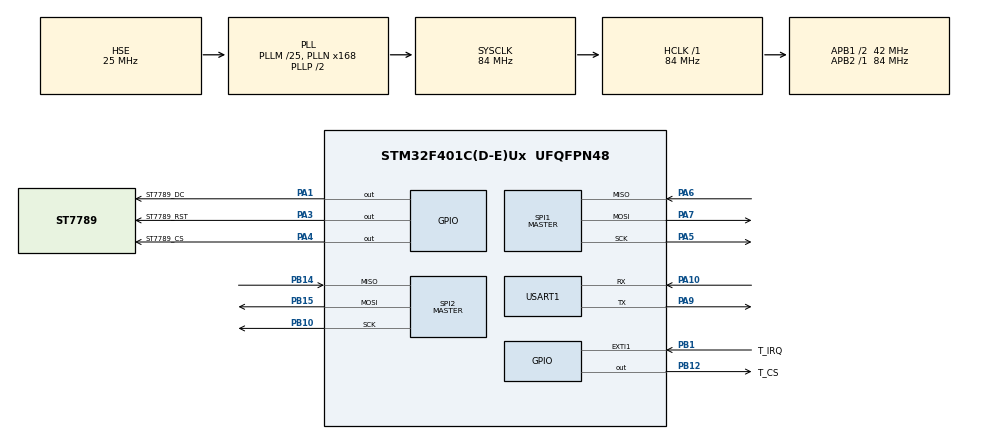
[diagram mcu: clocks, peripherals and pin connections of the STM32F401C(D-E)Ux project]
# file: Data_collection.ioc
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Dma.Request0=SPI1_TX
Dma.SPI1_TX.0.Direction=DMA_MEMORY_TO_PERIPH
Dma.SPI1_TX.0.FIFOMode=DMA_FIFOMODE_DISABLE
Dma.SPI1_TX.0.Instance=DMA2_Stream3
Dma.SPI1_TX.0.MemDataAlignment=DMA_MDATAALIGN_BYTE
Dma.SPI1_TX.0.MemInc=DMA_MINC_ENABLE
Dma.SPI1_TX.0.Mode=DMA_NORMAL
Dma.SPI1_TX.0.PeriphDataAlignment=DMA_PDATAALIGN_BYTE
Dma.SPI1_TX.0.PeriphInc=DMA_PINC_DISABLE
Dma.SPI1_TX.0.Priority=DMA_PRIORITY_LOW
Mcu.Family=STM32F4
Mcu.Name=STM32F401C(D-E)Ux
Mcu.Package=UFQFPN48
NVIC.DMA2_Stream3_IRQn=true\:0\:0\:false\:false\:true\:false\:true\:true
NVIC.PriorityGroup=NVIC_PRIORITYGROUP_4
PA1.GPIO_Label=ST7789_DC
PA1.GPIO_ModeDefaultOutputPP=GPIO_MODE_OUTPUT_OD
PA1.GPIO_PuPd=GPIO_NOPULL
PA1.GPIO_Speed=GPIO_SPEED_FREQ_HIGH
PA1.Signal=GPIO_Output
PA10.Mode=Asynchronous
PA10.Signal=USART1_RX
PA13.Mode=Serial_Wire
PA13.Signal=SYS_JTMS-SWDIO
PA14.Mode=Serial_Wire
PA14.Signal=SYS_JTCK-SWCLK
PA3.GPIO_Label=ST7789_RST
PA3.GPIO_ModeDefaultOutputPP=GPIO_MODE_OUTPUT_OD
PA3.GPIO_PuPd=GPIO_NOPULL
PA3.GPIO_Speed=GPIO_SPEED_FREQ_HIGH
PA3.Signal=GPIO_Output
PA4.GPIO_Label=ST7789_CS
PA4.GPIO_ModeDefaultOutputPP=GPIO_MODE_OUTPUT_OD
PA4.GPIO_PuPd=GPIO_NOPULL
PA4.GPIO_Speed=GPIO_SPEED_FREQ_HIGH
PA4.Signal=GPIO_Output
PA5.Mode=Full_Duplex_Master
PA5.Signal=SPI1_SCK
PA6.Mode=Full_Duplex_Master
PA6.Signal=SPI1_MISO
PA7.Mode=Full_Duplex_Master
PA7.Signal=SPI1_MOSI
PA9.Mode=Asynchronous
PA9.Signal=USART1_TX
PB1.GPIO_Label=T_IRQ
PB1.Signal=GPXTI1
PB10.Mode=Full_Duplex_Master
PB10.Signal=SPI2_SCK
PB12.GPIO_Label=T_CS
PB12.GPIO_ModeDefaultOutputPP=GPIO_MODE_OUTPUT_OD
PB12.GPIO_PuPd=GPIO_NOPULL
PB12.GPIO_Speed=GPIO_SPEED_FREQ_VERY_HIGH
PB12.Signal=GPIO_Output
PB14.Mode=Full_Duplex_Master
PB14.Signal=SPI2_MISO
PB15.Mode=Full_Duplex_Master
PB15.Signal=SPI2_MOSI
PH0\ -\ OSC_IN.Mode=HSE-External-Oscillator
PH0\ -\ OSC_IN.Signal=RCC_OSC_IN
PH1\ -\ OSC_OUT.Mode=HSE-External-Oscillator
PH1\ -\ OSC_OUT.Signal=RCC_OSC_OUT
ProjectManager.HeapSize=0x200
ProjectManager.StackSize=0x400
ProjectManager.TargetToolchain=STM32CubeIDE
RCC.48MHZClocksFreq_Value=42000000
RCC.AHBFreq_Value=84000000
RCC.APB1CLKDivider=RCC_HCLK_DIV2
RCC.APB1Freq_Value=42000000
RCC.APB1TimFreq_Value=84000000
RCC.APB2Freq_Value=84000000
RCC.APB2TimFreq_Value=84000000
RCC.CortexFreq_Value=84000000
RCC.HCLKFreq_Value=84000000
RCC.HSE_VALUE=25000000
RCC.HSI_VALUE=16000000
RCC.LSE_VALUE=32768
RCC.PLLM=25
RCC.PLLN=168
RCC.PLLSourceVirtual=RCC_PLLSOURCE_HSE
RCC.SYSCLKFreq_VALUE=84000000
RCC.SYSCLKSource=RCC_SYSCLKSOURCE_PLLCLK
RCC.VCOOutputFreq_Value=168000000
SPI1.BaudRatePrescaler=SPI_BAUDRATEPRESCALER_4
SPI1.CLKPhase=SPI_PHASE_1EDGE
SPI1.CLKPolarity=SPI_POLARITY_HIGH
SPI1.Direction=SPI_DIRECTION_2LINES
SPI1.Mode=SPI_MODE_MASTER
SPI1.VirtualType=VM_MASTER
SPI2.BaudRatePrescaler=SPI_BAUDRATEPRESCALER_8
SPI2.DataSize=SPI_DATASIZE_16BIT
SPI2.Direction=SPI_DIRECTION_2LINES
SPI2.Mode=SPI_MODE_MASTER
SPI2.VirtualType=VM_MASTER
USART1.VirtualMode=VM_ASYNC
board=custom

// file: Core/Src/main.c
/* USER CODE BEGIN Header */
/**
  ******************************************************************************
  * @file           : main.c
  * @brief          : Main program body of TFT_touch_xpt2046 to calib screen
  ******************************************************************************
  * @attention
  *
  * Copyright (c) 2024 STMicroelectronics.
  * All rights reserved.
  *
  * This software is licensed under terms that can be found in the LICENSE file
  * in the root directory of this software component.
  * If no LICENSE file comes with this software, it is provided AS-IS.
  *
  ******************************************************************************
  */
/* USER CODE END Header */
#include "main.h"

/* USER CODE BEGIN Includes */
#include <stdio.h>
#include <string.h>
#include "st7789.h"
#include "xpt2046.h"
#include "constants.h"
/* USER CODE END Includes */

SPI_HandleTypeDef hspi1;
SPI_HandleTypeDef hspi2;
DMA_HandleTypeDef hdma_spi1_tx;

UART_HandleTypeDef huart1;

/* USER CODE BEGIN PV */
volatile float cnn_input[INPUT_SIZE * INPUT_SIZE];	// to store CNN input
uint16_t data_count = 0;
/* USER CODE END PV */

void SystemClock_Config(void);
static void MX_GPIO_Init(void);
static void MX_DMA_Init(void);
static void MX_SPI1_Init(void);
static void MX_SPI2_Init(void);
static void MX_USART1_UART_Init(void);

/* USER CODE BEGIN 0 */
void clearCNNinput(volatile float *in_mat)
{
	uint8_t i = 0;
	uint8_t j = 0;
	for (i = 0; i < INPUT_SIZE; i++)
	{
		for (j = 0; j < INPUT_SIZE; j ++)
		{
			uint16_t in_mat_idx = i * INPUT_SIZE + j;
			in_mat[in_mat_idx] = 0;
		}
	}
}

void resetButtonPressed(volatile float* cnn_input, volatile uint16_t coordinate_x, volatile uint16_t coordinate_y)
{
	if ((coordinate_x > 157 && coordinate_x < 208) &&
		(coordinate_y >  23 && coordinate_y <  43))
	{
		ST7789_DrawFilledRectangle(10, 90, 220, 220, WHITE);
		ST7789_DrawFilledRectangle(10, 10, 28, 28, WHITE);
		HAL_Delay(100);
		ST7789_WriteString(45, 10, "Predicted: _", Font_7x10, RED, WHITE);
		ST7789_WriteString(45, 25, "         ", Font_7x10, RED, WHITE);
		clearCNNinput(cnn_input);
		data_count ++;
	}
}

void drawInterface()
{
	// Turn screen Black
//	ST7789_InvertColors(ST7789_INVOFF);
	ST7789_Fill_Color(WHITE);
	HAL_Delay(500);
//	ST7789_WriteString(10, 20, "Touch Test", Font_11x18, RED, WHITE);
//	HAL_Delay(500);

	// Draw resset button
	ST7789_DrawFilledRectangle(158, 8, 59, 22, BLACK);
	ST7789_WriteString(160, 10, "RESET", Font_11x18, CYAN, BLACK);// 160~226 - 20~38

	// Draw CNN button
	ST7789_DrawFilledRectangle(158, 38, 59, 22, BLACK);
	ST7789_WriteString(160, 40, "SEND ", Font_11x18, CYAN, BLACK);// 160~226 - 20~38

	// Minimap border
	ST7789_DrawRectangle(8, 8, 40, 40, BLACK);
	ST7789_WriteString(8, 45, "CNN input:", Font_7x10, RED, WHITE);
	ST7789_WriteString(45, 10, "Predicted: _", Font_7x10, RED, WHITE);

	// Draw drawing border
	ST7789_DrawRectangle(8, 88, 232, 312, BLACK);
}

void drawMinimap(volatile float *in_mat)
{
	// (x1, y1) = (10, 10)
	uint8_t i = 0;
	uint8_t j = 0;
	uint16_t in_mat_idx = 0;

	// Loop through matrix and draw pixels
	for (i = 0; i < INPUT_SIZE; i++)
	{
		for (j = 0; j < INPUT_SIZE; j++)
		{
			in_mat_idx = i * INPUT_SIZE + j;  // Calculate the index once per loop
			uint16_t color = (in_mat[in_mat_idx] == 0) ? WHITE : RED; // Determine color
			ST7789_DrawPixel(10 + i, 10 + j, color);  // Draw pixel with selected color
		}
	}
}
/* USER CODE END 0 */

int main(void)
{

  /* MCU Configuration--------------------------------------------------------*/

  /* Reset of all peripherals, Initializes the Flash interface and the Systick. */
  HAL_Init();

  /* Configure the system clock */
  SystemClock_Config();

  /* Initialize all configured peripherals */
  MX_GPIO_Init();
  MX_DMA_Init();
  MX_SPI1_Init();
  MX_SPI2_Init();
  MX_USART1_UART_Init();
  /* USER CODE BEGIN 2 */
  ST7789_Init();

  xpt2046_spi(&hspi2);
  xpt2046_init();

  ST7789_Init();
  ST7789_Init();
  /* USER CODE END 2 */

  /* Infinite loop */
  /* USER CODE BEGIN WHILE */
//  ST7789_Test();
  char print_string[30];
  uint8_t change_flag = 0;
  volatile uint16_t coordinate_x = 0;
  volatile uint16_t coordinate_y = 0;

  // Initialize the input mat
  for (uint16_t i = 0; i < INPUT_SIZE; i++)
  {
	  for (uint16_t j = 0; j < INPUT_SIZE; j++)
	  {
		  uint16_t in_mat_idx = i * INPUT_SIZE + j;
		  cnn_input[in_mat_idx] = 0;
	  }
  }

  drawInterface();

  while (1)
  {
	uint16_t pre_coordinate_x = coordinate_x;
	uint16_t pre_coordinate_y = coordinate_y;
	xpt2046_read_position(&coordinate_x, &coordinate_y);
	if (coordinate_x == 0 && coordinate_y == 0)
	{
		// do smt
		if (change_flag != 0)
		{
			ST7789_DrawFilledRectangle(38, 66, 60, 10, WHITE);
			sprintf(print_string,"x = 0");
			ST7789_WriteString(10, 66, print_string, Font_7x10, RED, WHITE);
			HAL_Delay(50);
			ST7789_DrawFilledRectangle(38, 78, 60, 9, WHITE);
			sprintf(print_string,"y = 0");
			ST7789_WriteString(10, 78, print_string, Font_7x10, RED, WHITE);
			HAL_Delay(50);
			change_flag = 0;
		}
	}
	else
	{
		// update screen
		sprintf(print_string,"x = %d", coordinate_x);
		ST7789_WriteString(10, 66, print_string, Font_7x10, RED, WHITE);
//		HAL_Delay(100);
		sprintf(print_string,"y = %d", coordinate_y );
		ST7789_WriteString(10, 78, print_string, Font_7x10, RED, WHITE);
//		HAL_Delay(100);
		change_flag = 1;
	}

//	// Draw function
	uint8_t SOMERANDOMASSSHIZ = 15;
	if (
			// bounding of draw box
			(coordinate_x >  25 && coordinate_x < 221) &&
			(coordinate_y > 108 && coordinate_y < 307) &&
			// prevent jumping in value
			(coordinate_x < pre_coordinate_x + SOMERANDOMASSSHIZ) && (coordinate_x > pre_coordinate_x - SOMERANDOMASSSHIZ) &&
			(coordinate_y < pre_coordinate_y + SOMERANDOMASSSHIZ) && (coordinate_y > pre_coordinate_y - SOMERANDOMASSSHIZ)
		)
	{
		ST7789_DrawFilledRectangle(coordinate_x - 4, coordinate_y - 4, 8, 8, RED);

		// update input mat
		uint8_t cnn_input_idx_x = (coordinate_x - 25)/ 7;
		uint8_t cnn_input_idx_y = (coordinate_y - 108)/ 7;
		// make the input bolder - enlarge the input to 4 pixel
		uint16_t cnn_input_index00 = cnn_input_idx_x * INPUT_SIZE + cnn_input_idx_y;
//		uint16_t cnn_input_index01 = (cnn_input_idx_x - 1) * INPUT_SIZE + cnn_input_idx_y - 1;
//		uint16_t cnn_input_index02 = (cnn_input_idx_x - 1) * INPUT_SIZE + cnn_input_idx_y;
//		uint16_t cnn_input_index03 = (cnn_input_idx_x - 1) * INPUT_SIZE + cnn_input_idx_y + 1;
//		uint16_t cnn_input_index04 = cnn_input_idx_x * INPUT_SIZE + cnn_input_idx_y - 1;
		uint16_t cnn_input_index05 = cnn_input_idx_x * INPUT_SIZE + cnn_input_idx_y + 1;
//		uint16_t cnn_input_index06 = (cnn_input_idx_x + 1) * INPUT_SIZE + cnn_input_idx_y - 1;
		uint16_t cnn_input_index07 = (cnn_input_idx_x + 1) * INPUT_SIZE + cnn_input_idx_y;
		uint16_t cnn_input_index08 = (cnn_input_idx_x + 1) * INPUT_SIZE + cnn_input_idx_y + 1;

		if (cnn_input_index00 < INPUT_SIZE * INPUT_SIZE)
		{
		    cnn_input[cnn_input_index00] = 1.0f;
		}

//		if (cnn_input_index01 < INPUT_SIZE * INPUT_SIZE)
//		{
//			cnn_input[cnn_input_index01] = 1.0f;
//		}
//
//		if (cnn_input_index02 < INPUT_SIZE * INPUT_SIZE)
//		{
//			cnn_input[cnn_input_index02] = 1.0f;
//		}
//
//		if (cnn_input_index03 < INPUT_SIZE * INPUT_SIZE)
//		{
//			cnn_input[cnn_input_index03] = 1.0f;
//		}

//		if (cnn_input_index04 < INPUT_SIZE * INPUT_SIZE)
//		{
//			cnn_input[cnn_input_index04] = 1.0f;
//		}

		if (cnn_input_index05 < INPUT_SIZE * INPUT_SIZE)
		{
			cnn_input[cnn_input_index05] = 1.0f;
		}

//		if (cnn_input_index06 < INPUT_SIZE * INPUT_SIZE)
//		{
//			cnn_input[cnn_input_index06] = 1.0f;
//		}

		if (cnn_input_index07 < INPUT_SIZE * INPUT_SIZE)
		{
			cnn_input[cnn_input_index07] = 1.0f;
		}

		if (cnn_input_index08 < INPUT_SIZE * INPUT_SIZE)
		{
			cnn_input[cnn_input_index08] = 1.0f;
		}
	}

	uint8_t buffer_uart[30];
	uint16_t in_mat_idx;
	// CNN button: SEND DATA TO PC BUTTON
	if ((coordinate_x > 157 && coordinate_x < 208) &&
	    (coordinate_y > 59 && coordinate_y < 71)) {
//	    sprintf((char *)buffer_uart, "A %d\n\r", data_count);
//	    sprintf((char *)buffer_uart, "B %d\n\r", data_count);
	    HAL_UART_Transmit(&huart1, buffer_uart, strlen((char *)buffer_uart), 100);
	    for (uint8_t i = 0; i < INPUT_SIZE; i++)
	    	{
	    		for (uint8_t j = 0; j < INPUT_SIZE; j++)
	    		{
	    			in_mat_idx = j * INPUT_SIZE + i;  // Calculate the index once per loop

	    	        if (cnn_input[in_mat_idx] != 0) {
	    	            sprintf((char *)buffer_uart, "1, ");
	    	        } else {
	    	            sprintf((char *)buffer_uart, "0, ");
	    	        }
	    	        HAL_UART_Transmit(&huart1, buffer_uart, strlen((char *)buffer_uart), 100);
	    	        HAL_Delay(5);
	    		}
	    	}

//	    sprintf((char *)buffer_uart, "\n\rDone\n\r");
	    sprintf((char *)buffer_uart, "\n\r");
	    HAL_UART_Transmit(&huart1, buffer_uart, strlen((char *)buffer_uart), 100);
	    HAL_Delay(1000);
	    ST7789_WriteString(45, 25, "SENT done", Font_7x10, RED, WHITE);
	}

	// draw mini drawin plane
	drawMinimap(cnn_input);

	// Reset button
	resetButtonPressed(cnn_input,  coordinate_x, coordinate_y);
    /* USER CODE END WHILE */

  }
}

void SystemClock_Config(void)
{
  RCC_OscInitTypeDef RCC_OscInitStruct = {0};
  RCC_ClkInitTypeDef RCC_ClkInitStruct = {0};

  /** Configure the main internal regulator output voltage
  */
  __HAL_RCC_PWR_CLK_ENABLE();
  __HAL_PWR_VOLTAGESCALING_CONFIG(PWR_REGULATOR_VOLTAGE_SCALE2);

  /** Initializes the RCC Oscillators according to the specified parameters
  * in the RCC_OscInitTypeDef structure.
  */
  RCC_OscInitStruct.OscillatorType = RCC_OSCILLATORTYPE_HSE;
  RCC_OscInitStruct.HSEState = RCC_HSE_ON;
  RCC_OscInitStruct.PLL.PLLState = RCC_PLL_ON;
  RCC_OscInitStruct.PLL.PLLSource = RCC_PLLSOURCE_HSE;
  RCC_OscInitStruct.PLL.PLLM = 25;
  RCC_OscInitStruct.PLL.PLLN = 168;
  RCC_OscInitStruct.PLL.PLLP = RCC_PLLP_DIV2;
  RCC_OscInitStruct.PLL.PLLQ = 4;
  if (HAL_RCC_OscConfig(&RCC_OscInitStruct) != HAL_OK)
  {
    Error_Handler();
  }

  /** Initializes the CPU, AHB and APB buses clocks
  */
  RCC_ClkInitStruct.ClockType = RCC_CLOCKTYPE_HCLK|RCC_CLOCKTYPE_SYSCLK
                              |RCC_CLOCKTYPE_PCLK1|RCC_CLOCKTYPE_PCLK2;
  RCC_ClkInitStruct.SYSCLKSource = RCC_SYSCLKSOURCE_PLLCLK;
  RCC_ClkInitStruct.AHBCLKDivider = RCC_SYSCLK_DIV1;
  RCC_ClkInitStruct.APB1CLKDivider = RCC_HCLK_DIV2;
  RCC_ClkInitStruct.APB2CLKDivider = RCC_HCLK_DIV1;

  if (HAL_RCC_ClockConfig(&RCC_ClkInitStruct, FLASH_LATENCY_2) != HAL_OK)
  {
    Error_Handler();
  }
}

static void MX_SPI1_Init(void)
{

  /* SPI1 parameter configuration*/
  hspi1.Instance = SPI1;
  hspi1.Init.Mode = SPI_MODE_MASTER;
  hspi1.Init.Direction = SPI_DIRECTION_2LINES;
  hspi1.Init.DataSize = SPI_DATASIZE_8BIT;
  hspi1.Init.CLKPolarity = SPI_POLARITY_HIGH;
  hspi1.Init.CLKPhase = SPI_PHASE_1EDGE;
  hspi1.Init.NSS = SPI_NSS_SOFT;
  hspi1.Init.BaudRatePrescaler = SPI_BAUDRATEPRESCALER_4;
  hspi1.Init.FirstBit = SPI_FIRSTBIT_MSB;
  hspi1.Init.TIMode = SPI_TIMODE_DISABLE;
  hspi1.Init.CRCCalculation = SPI_CRCCALCULATION_DISABLE;
  hspi1.Init.CRCPolynomial = 10;
  if (HAL_SPI_Init(&hspi1) != HAL_OK)
  {
    Error_Handler();
  }

}

static void MX_SPI2_Init(void)
{

  /* SPI2 parameter configuration*/
  hspi2.Instance = SPI2;
  hspi2.Init.Mode = SPI_MODE_MASTER;
  hspi2.Init.Direction = SPI_DIRECTION_2LINES;
  hspi2.Init.DataSize = SPI_DATASIZE_16BIT;
  hspi2.Init.CLKPolarity = SPI_POLARITY_LOW;
  hspi2.Init.CLKPhase = SPI_PHASE_1EDGE;
  hspi2.Init.NSS = SPI_NSS_SOFT;
  hspi2.Init.BaudRatePrescaler = SPI_BAUDRATEPRESCALER_8;
  hspi2.Init.FirstBit = SPI_FIRSTBIT_MSB;
  hspi2.Init.TIMode = SPI_TIMODE_DISABLE;
  hspi2.Init.CRCCalculation = SPI_CRCCALCULATION_DISABLE;
  hspi2.Init.CRCPolynomial = 10;
  if (HAL_SPI_Init(&hspi2) != HAL_OK)
  {
    Error_Handler();
  }

}

static void MX_USART1_UART_Init(void)
{

  huart1.Instance = USART1;
  huart1.Init.BaudRate = 115200;
  huart1.Init.WordLength = UART_WORDLENGTH_8B;
  huart1.Init.StopBits = UART_STOPBITS_1;
  huart1.Init.Parity = UART_PARITY_NONE;
  huart1.Init.Mode = UART_MODE_TX_RX;
  huart1.Init.HwFlowCtl = UART_HWCONTROL_NONE;
  huart1.Init.OverSampling = UART_OVERSAMPLING_16;
  if (HAL_UART_Init(&huart1) != HAL_OK)
  {
    Error_Handler();
  }

}

static void MX_DMA_Init(void)
{

  /* DMA controller clock enable */
  __HAL_RCC_DMA2_CLK_ENABLE();

  /* DMA interrupt init */
  /* DMA2_Stream3_IRQn interrupt configuration */
  HAL_NVIC_SetPriority(DMA2_Stream3_IRQn, 0, 0);
  HAL_NVIC_EnableIRQ(DMA2_Stream3_IRQn);

}

static void MX_GPIO_Init(void)
{
  GPIO_InitTypeDef GPIO_InitStruct = {0};

  /* GPIO Ports Clock Enable */
  __HAL_RCC_GPIOH_CLK_ENABLE();
  __HAL_RCC_GPIOA_CLK_ENABLE();
  __HAL_RCC_GPIOB_CLK_ENABLE();

  /*Configure GPIO pin Output Level */
  HAL_GPIO_WritePin(GPIOA, ST7789_DC_Pin|ST7789_RST_Pin|ST7789_CS_Pin, GPIO_PIN_RESET);

  /*Configure GPIO pin Output Level */
  HAL_GPIO_WritePin(T_CS_GPIO_Port, T_CS_Pin, GPIO_PIN_RESET);

  /*Configure GPIO pins : ST7789_DC_Pin ST7789_RST_Pin ST7789_CS_Pin */
  GPIO_InitStruct.Pin = ST7789_DC_Pin|ST7789_RST_Pin|ST7789_CS_Pin;
  GPIO_InitStruct.Mode = GPIO_MODE_OUTPUT_OD;
  GPIO_InitStruct.Pull = GPIO_NOPULL;
  GPIO_InitStruct.Speed = GPIO_SPEED_FREQ_HIGH;
  HAL_GPIO_Init(GPIOA, &GPIO_InitStruct);

  /*Configure GPIO pin : T_IRQ_Pin */
  GPIO_InitStruct.Pin = T_IRQ_Pin;
  GPIO_InitStruct.Mode = GPIO_MODE_IT_RISING;
  GPIO_InitStruct.Pull = GPIO_NOPULL;
  HAL_GPIO_Init(T_IRQ_GPIO_Port, &GPIO_InitStruct);

  /*Configure GPIO pin : T_CS_Pin */
  GPIO_InitStruct.Pin = T_CS_Pin;
  GPIO_InitStruct.Mode = GPIO_MODE_OUTPUT_OD;
  GPIO_InitStruct.Pull = GPIO_NOPULL;
  GPIO_InitStruct.Speed = GPIO_SPEED_FREQ_VERY_HIGH;
  HAL_GPIO_Init(T_CS_GPIO_Port, &GPIO_InitStruct);

}

void Error_Handler(void)
{
  __disable_irq();
  while (1)
  {
  }
}
